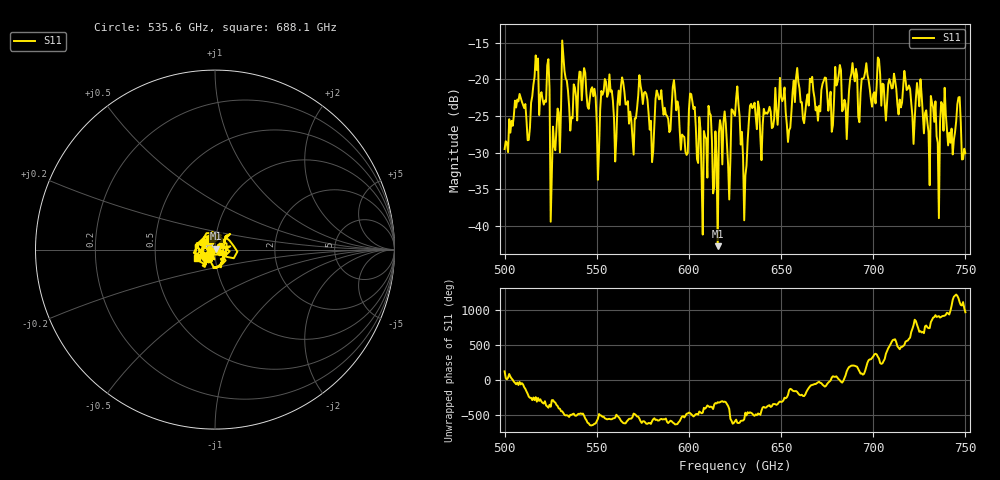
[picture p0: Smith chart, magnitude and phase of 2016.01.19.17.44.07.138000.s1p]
!Created with skrf (http://scikit-rf.org).
# GHz S RI R 50.0
!freq ReS11 ImS11
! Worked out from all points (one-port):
!   401 points, 500 GHz to 750 GHz, reference 50 ohm
!   lowest |S11| = -42.8 dB at 615.6 GHz (marker M1), VSWR 1.01, Z = 50.6 + j0.474 ohm
!   |S11| at or under -10 dB: start of sweep to end of sweep
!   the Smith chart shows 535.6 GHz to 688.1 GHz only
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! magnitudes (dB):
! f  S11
! 500 GHz  -29.5
! 506.9 GHz  -22.8
! 513.1 GHz  -28.3
! 516.9 GHz  -16.7
! 523.1 GHz  -18.1
! 526.2 GHz  -26.5
! 531.2 GHz  -14.7
! 548.1 GHz  -22.3
! 550.6 GHz  -33.7
! 553.8 GHz  -21.6
! 560 GHz  -31.2
! 562.5 GHz  -23.5
! 570 GHz  -30.3
! 574.4 GHz  -21.7
! 580 GHz  -31.3
! 583.8 GHz  -22.7
! 593.8 GHz  -23.0
! 615.6 GHz  -42.8
! 621.9 GHz  -36.4
! 625 GHz  -25.0
! 630.6 GHz  -33.1
! 634.4 GHz  -23.9
! 656.2 GHz  -21.7
! 687.5 GHz  -19.9
! 718.8 GHz  -21.3
! 734.4 GHz  -27.8
! 746.2 GHz  -22.5
! 750 GHz  -30.1
